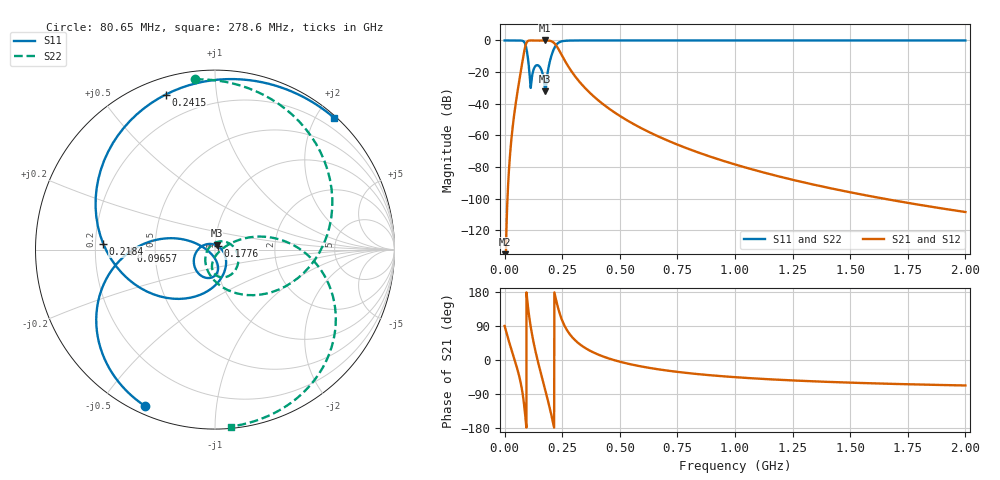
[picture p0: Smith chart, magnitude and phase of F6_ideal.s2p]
! Created with skrf 2.2.0 (http://scikit-rf.org).
# MHz S RI R 50.0
! Port[1] = P1
! Port[2] = P2
!freq ReS11 ImS11 ReS21 ImS21 ReS12 ImS12 ReS22 ImS22
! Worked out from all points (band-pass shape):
!   2001 points, 50 kHz to 2 GHz, reference 50 ohm
!   highest |S21| = 0.00 dB at 176.7 MHz (marker M1); lowest = -199.0 dB at 1.273 MHz (marker M2)
!   |S21| within 3 dB of the highest: 91.26 MHz to 223.1 MHz (131.9 MHz wide, 83.9 % of centre)
!   lowest |S11| = -32.1 dB at 176.7 MHz (marker M3), VSWR 1.05, Z = 50.8 + j2.39 ohm
!   |S11| at or under -10 dB: 100.1 MHz to 202.5 MHz (102.4 MHz wide, 67.7 % of centre)
!   |S22| runs from -32.1 to 0.0 dB; largest |S21 - S12| = 1.7e-15
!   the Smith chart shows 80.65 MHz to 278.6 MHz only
!   S11 on the Smith chart (normalised r, x): 80.65 MHz: 0.03, -0.65; 96.57 MHz: 0.36, -0.01; 177.6 MHz: 1.03, +0.04; 218.4 MHz: 0.23, +0.02; 241.5 MHz: 0.08, +0.73; 278.6 MHz: 0.03, +2.24
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0.05  1 -0.000848  2.02e-20 1.05e-17  2.03e-20 1.05e-17  1 -0.00302
0.2934364  1 -0.00498  8.28e-16 7.31e-14  8.28e-16 7.31e-14  0.9998 -0.0177
1.273208  0.9998 -0.0216  5.52e-12 1.12e-10  5.52e-12 1.12e-10  0.9971 -0.0767
1.712999  0.9996 -0.0291  3.28e-11 4.94e-10  3.28e-11 4.94e-10  0.9947 -0.1031
10  0.9855 -0.1694  1.25e-06 3.11e-06  1.25e-06 3.11e-06  0.8268 -0.5625
20.01866  0.9412 -0.3378  7.37e-05 7.83e-05  7.37e-05 7.83e-05  0.3944 -0.919
37.01301  0.789 -0.6144  0.00238 0.00054  0.00238 0.00054  -0.4462 -0.8949
58.68728  0.4027 -0.9148  0.0273 -0.0168  0.0273 -0.0168  -0.9979 -0.0558
80.65027  -0.3886 -0.8723  -0.0445 -0.2933  -0.0445 -0.2933  -0.1124 0.9483
89.19189  -0.6609 -0.4228  -0.5029 -0.3628  -0.5029 -0.3628  0.6097 0.4938
96.56969  -0.4663 -0.00652  -0.8679 0.1711  -0.8679 0.1711  0.4289 -0.183
112.6084  -0.0284 -0.0164  -0.0117 0.9994  -0.0117 0.9994  -0.0288 0.0158
136.9963  -0.0336 -0.1585  0.9522 0.2591  0.9522 0.2591  0.1093 -0.1196
176.6681  0.0084 0.0235  0.1779 -0.9837  0.1779 -0.9837  0.0161 -0.019
177.6067  0.0164 0.019  0.1399 -0.9898  0.1399 -0.9898  0.021 -0.0137
218.3733  -0.6223 0.0317  -0.7746 0.1084  -0.7746 0.1084  0.6071 -0.1403
241.5011  -0.2756 0.8633  -0.201 0.3719  -0.201 0.3719  0.5714 -0.7034
278.6422  0.662 0.7358  0.045 0.1352  0.045 0.1352  0.0888 -0.9858
342.5997  0.9994 0.00252  0.0292 0.0201  0.0292 0.0201  -0.3595 -0.9325
546.1069  0.4761 -0.8794  0.00255 -0.000506  0.00255 -0.000506  -0.7758 -0.6309
1020.468  -0.382 -0.9241  7.56e-05 -7.87e-05  7.56e-05 -7.87e-05  -0.9388 -0.3444
2000  -0.815 -0.5795  1.47e-06 -3.5e-06  1.47e-06 -3.5e-06  -0.9843 -0.1766
